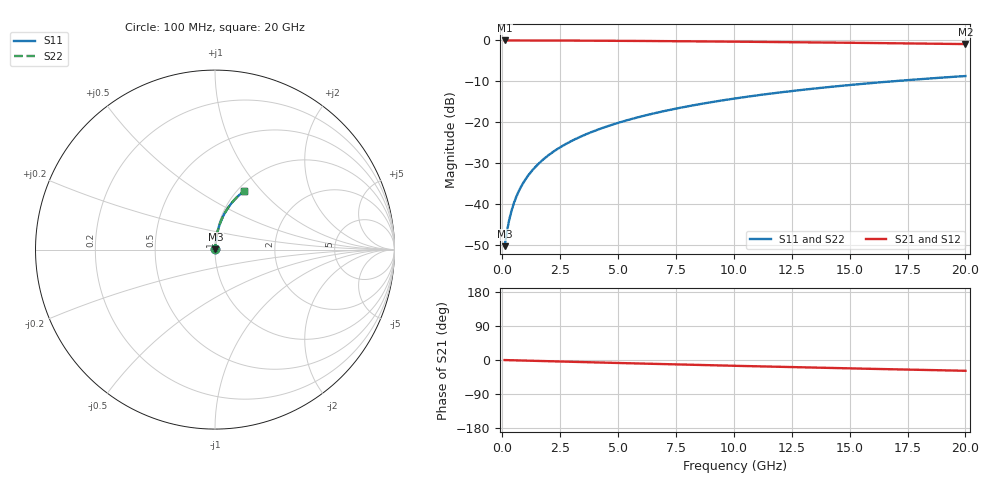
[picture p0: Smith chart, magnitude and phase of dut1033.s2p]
! Touchstone file exported from HFSS 2024.1.0
!  File:  C:/UserFiles/LocalFiles/RDL_TSV_Batchsim/temp_RDL_bottom_1033_1780051234.aedt
!  Generated:  06:43:29 PM May 29, 2026
!  Design:  RDL_bottom
!  Project:  temp_RDL_bottom_1033_1780051234
!  Setup:  Setup1
!  Solution:  Sweep
! Variables:
!  dtsv = 10.80580581um
!  hbump = 3um
!  htsv = 96.64um
!  ldown = 303.61um
!  lrdl = 100um
!  p = 40
!  p1 = 59.9um
!  rhole = 1um
!  t = 450um
!  tdown = 4.18um
!  trdl = 3.915915916um
!  wdown = 11.86um
!  wrdl = 20um
# GHz S MA R 50.000000
! Terminal data exported
! Port[1] = RDL1_T1
! Port[2] = RDL1_T2
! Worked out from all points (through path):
!   200 points, 100 MHz to 20 GHz, reference 50 ohm
!   highest |S21| = -0.02 dB at 100 MHz (marker M1); lowest = -0.9 dB at 20 GHz (marker M2)
!   group delay of S21, straight-line fit = 3.95 ps
!   lowest |S11| = -50.4 dB at 100 MHz (marker M3), VSWR 1.01, Z = 50.2 + j0.202 ohm
!   |S11| at or under -10 dB: start of sweep to 16.88 GHz
!   |S22| runs from -50.4 to -8.7 dB; largest |S21 - S12| = 2.6e-15
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0.1  0.003034 41.5  0.9977 -0.2  0.9977 -0.2  0.003034 41.5
! Gamma 0 0 0 0
! Port Impedance 50 0 50 0
0.2  0.00459 59.9  0.9977 -0.3  0.9977 -0.3  0.00459 59.9
0.3  0.006382 68.6  0.9976 -0.5  0.9976 -0.5  0.006382 68.6
0.4  0.00826 73.3  0.9976 -0.6  0.9976 -0.6  0.00826 73.3
0.5  0.01018 76.2  0.9975 -0.8  0.9975 -0.8  0.01018 76.2
0.6  0.01211 78.2  0.9974 -1.0  0.9974 -1.0  0.01211 78.2
0.8  0.016 80.5  0.9973 -1.3  0.9973 -1.3  0.016 80.5
1.1  0.02186 82.3  0.997 -1.8  0.997 -1.8  0.02186 82.3
1.5  0.02967 83.3  0.9965 -2.4  0.9965 -2.4  0.02967 83.3
1.8  0.03553 83.7  0.9961 -2.9  0.9961 -2.9  0.03553 83.7
2.1  0.04138 83.8  0.9956 -3.4  0.9956 -3.4  0.04138 83.8
2.7  0.05309 83.8  0.9944 -4.3  0.9944 -4.3  0.05309 83.8
3.5  0.06868 83.3  0.9924 -5.6  0.9924 -5.6  0.06868 83.3
4.2  0.08232 82.8  0.9903 -6.6  0.9903 -6.6  0.08232 82.8
5  0.09788 82.0  0.9876 -7.9  0.9876 -7.9  0.09788 82.0
5.9  0.1153 81.1  0.9842 -9.2  0.9842 -9.2  0.1153 81.1
6.8  0.1327 80.1  0.9804 -10.6  0.9804 -10.6  0.1327 80.1
8.3  0.1615 78.3  0.9734 -12.8  0.9734 -12.8  0.1615 78.3
10.1  0.1956 76.0  0.964 -15.4  0.964 -15.4  0.1956 76.0
13.4  0.2561 71.8  0.9449 -19.9  0.9449 -19.9  0.2561 71.8
16.7  0.3132 67.5  0.9238 -24.3  0.9238 -24.3  0.3132 67.5
20  0.3662 63.4  0.9011 -28.5  0.9011 -28.5  0.3662 63.4
